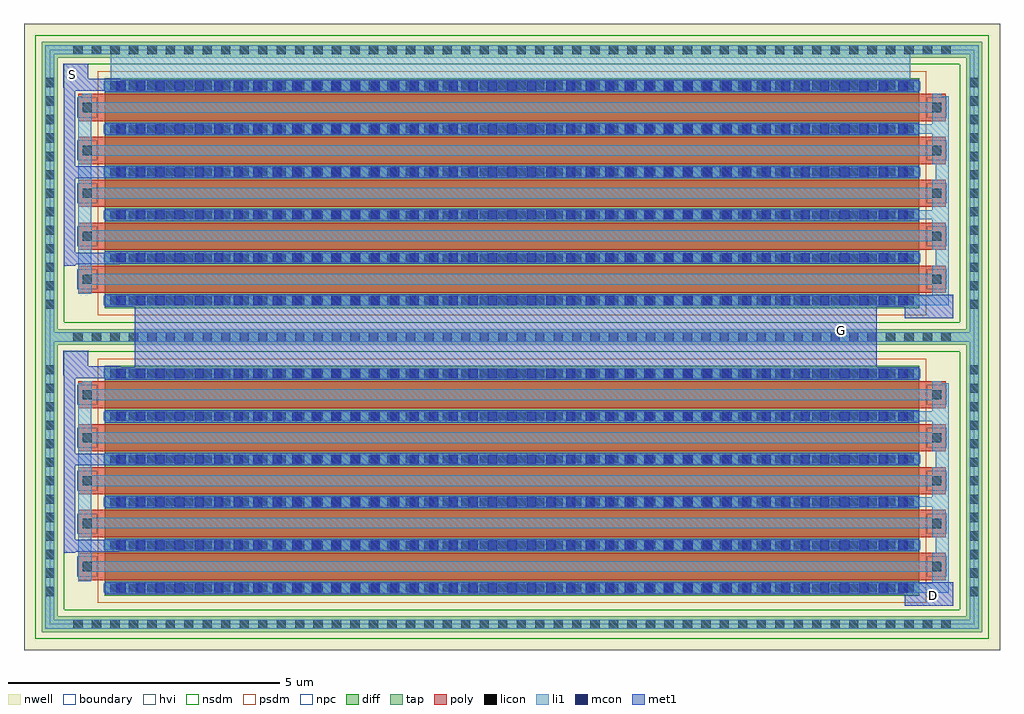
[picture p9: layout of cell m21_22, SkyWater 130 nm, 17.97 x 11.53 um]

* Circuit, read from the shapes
.subckt m21_22 D G S
XM1 G D D S sky130_fd_pr__pfet_g5v0d10v5 w=15 l=0.5 m=5
XM2 S G G S sky130_fd_pr__pfet_g5v0d10v5 w=15 l=0.5 m=5
.ends

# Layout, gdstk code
from math import pi, radians
import gdstk
lib = gdstk.Library(unit=1e-6, precision=1e-09)
def R(c, l, rs):  # rectangles x0, y0, x1, y1
    for r in rs: c.add(gdstk.rectangle(r[:2], r[2:], *l))
def A(c, l, x, y, w, h, nx, ny, dx, dy):  # array of equal rectangles
    R(c, l, [(x+i*dx, y+j*dy, x+i*dx+w, y+j*dy+h) for i in range(nx) for j in range(ny)])
nwell = (64, 20)
diff = (65, 20)
tap = (65, 44)
poly = (66, 20)
licon = (66, 44)
li1 = (67, 20)
mcon = (67, 44)
met1 = (68, 20)
hvi = (75, 20)
nsdm = (93, 44)
psdm = (94, 20)
npc = (95, 20)
boundary = (235, 4)

sky130_fd_pr__pfet_g5v0d = lib.new_cell('sky130_fd_pr__pfet_g5v0d10v5_DY6QAT')
R(sky130_fd_pr__pfet_g5v0d, nwell, [(-3.12,-8.985,3.12,8.985)])
R(sky130_fd_pr__pfet_g5v0d, diff, [(-2.12,-7.5,2.12,7.5)])
R(sky130_fd_pr__pfet_g5v0d, tap, [(-2.79,-8.655,2.79,-8.365), (-2.79,-8.365,-2.5,8.365), (2.5,-8.365,2.79,8.365), (-2.79,8.365,2.79,8.655)])
A(sky130_fd_pr__pfet_g5v0d, poly, -1.83, -7.985, 0.5, 15.97, 5, 1, 0.79, 0)
A(sky130_fd_pr__pfet_g5v0d, licon, -2.125, -8.595, 0.17, 0.17, 13, 2, 0.34, 17.02)
A(sky130_fd_pr__pfet_g5v0d, licon, -2.73, -8.075, 0.17, 0.17, 1, 48, 0, 0.34)
A(sky130_fd_pr__pfet_g5v0d, licon, 2.56, -8.075, 0.17, 0.17, 1, 48, 0, 0.34)
A(sky130_fd_pr__pfet_g5v0d, licon, -1.665, -7.905, 0.17, 0.17, 5, 2, 0.79, 15.64)
A(sky130_fd_pr__pfet_g5v0d, licon, -2.06, -7.395, 0.17, 0.17, 6, 44, 0.79, 0.34)
A(sky130_fd_pr__pfet_g5v0d, li1, -0.1, -7.735, 0.2, 15.47, 3, 1, 0.79, 0)
A(sky130_fd_pr__pfet_g5v0d, li1, -1.27, -7.52, 0.17, 15.04, 3, 1, 1.58, 0)
A(sky130_fd_pr__pfet_g5v0d, li1, -1.83, 7.735, 0.5, 0.01, 5, 1, 0.79, 0)
R(sky130_fd_pr__pfet_g5v0d, li1, [(-2.73,-8.595,2.73,-8.425), (-2.73,-8.425,-2.56,8.425), (2.56,-8.425,2.73,8.425), (-2.06,-8.045,1.79,-7.905), (-2.06,-7.905,1.83,-7.805), (-2.06,-7.805,-1.33,-7.735), (-1.04,-7.805,0.25,-7.735), (0.54,-7.805,1.83,-7.735), (-2.06,-7.735,-1.89,7.52), (-1.68,-7.735,-1.48,7.735), (-0.88,-7.735,-0.68,7.735), (-0.48,-7.735,-0.31,7.52), (1.095,-7.735,1.275,-7.355), (1.1,-7.355,1.27,7.52), (-1.85,7.745,1.83,7.905), (-1.85,7.905,1.79,7.985), (-2.73,8.425,2.73,8.595)])
A(sky130_fd_pr__pfet_g5v0d, mcon, -2.06, -7.285, 0.17, 0.17, 6, 41, 0.79, 0.36)
A(sky130_fd_pr__pfet_g5v0d, met1, -0.51, -7.5, 0.23, 15, 3, 1, 0.79, 0)
R(sky130_fd_pr__pfet_g5v0d, met1, [(-2.3,-8.125,-1.87,-7.5), (-2.3,-7.5,-1.86,-7.235), (-1.3,-7.5,-1.07,7.235), (1.86,-7.5,2.09,7.215), (-2.09,-7.235,-1.86,7.5), (1.86,7.215,2.11,7.5), (-1.31,7.235,-1.07,7.5), (-1.31,7.5,-1.09,8.045), (0.28,7.5,0.5,8.045), (1.89,7.5,2.11,7.805), (1.89,7.805,2.39,8.045), (-1.33,8.045,2.39,8.255), (1.94,8.255,2.39,8.265)])
R(sky130_fd_pr__pfet_g5v0d, hvi, [(-3.12,-8.985,3.12,8.985)])
R(sky130_fd_pr__pfet_g5v0d, nsdm, [(-2.915,-8.78,2.915,-8.24), (-2.915,-8.24,-2.375,8.24), (2.375,-8.24,2.915,8.24), (-2.915,8.24,2.915,8.78)])
R(sky130_fd_pr__pfet_g5v0d, psdm, [(-2.245,-7.625,2.245,7.625)])
A(sky130_fd_pr__pfet_g5v0d, npc, -1.765, -8.005, 0.37, 0.37, 5, 2, 0.79, 15.64)
R(sky130_fd_pr__pfet_g5v0d, boundary, [(-2.645,-8.51,2.645,8.51)])

m21_22 = lib.new_cell('m21_22')
R(m21_22, li1, [(118.77,9.47,133.49,10.28)])
R(m21_22, met1, [(133.595,-0.04,134.28,0.39), (119.21,4.2,132.87,5.59), (117.9,9.44,118.35,9.94)])
m21_22.add(gdstk.Reference(sky130_fd_pr__pfet_g5v0d, (126.155,2.26), rotation=pi/2))
m21_22.add(gdstk.Reference(sky130_fd_pr__pfet_g5v0d, (126.155,7.55), rotation=pi/2))
m21_22.add(gdstk.Label('S', (118.06,9.73), layer=68, texttype=5))
m21_22.add(gdstk.Label('D', (133.91,0.14), layer=68, texttype=5))
m21_22.add(gdstk.Label('G', (132.23,5.02), layer=68, texttype=5))

lib.write_gds('m21_22.gds')
